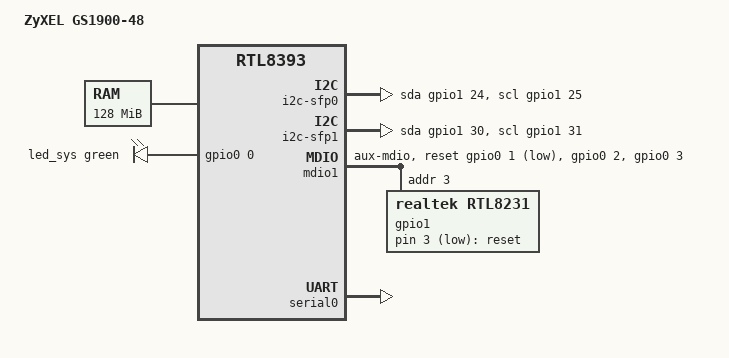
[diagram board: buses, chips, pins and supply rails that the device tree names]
// SPDX-License-Identifier: GPL-2.0-or-later
/dts-v1/;

#include "rtl83xx.dtsi"
#include "rtl839x.dtsi"

#include <dt-bindings/gpio/gpio.h>
#include <dt-bindings/input/input.h>
#include <dt-bindings/leds/common.h>

#define ZYXEL_PORT_LED(phy) \
	led@##phy##.0.0 { \
		reg = <(phy) 0 0>; \
		color = <LED_COLOR_ID_GREEN>; \
		function = "lan"; \
		function-enumerator = <(phy)>; \
	}

/ {
	compatible = "zyxel,gs1900-48", "realtek,rtl8393-soc";
	model = "ZyXEL GS1900-48";

	chosen {
		stdout-path = "serial0:115200n8";
		bootargs = "earlycon console=ttyS0,115200";
	};

	memory@0 {
		device_type = "memory";
		reg = <0x0 0x8000000>;
	};

	aliases {
		led-boot = &led_sys;
		led-failsafe = &led_sys;
		led-running = &led_sys;
		led-upgrade = &led_sys;
		mdio-gpio1 = &mdio1;
	};

	leds {
		compatible = "gpio-leds";

		pinctrl-names = "default";
		pinctrl-0 = <&sys_led_pins>;

		led_sys: led-0 {
			gpios = <&gpio0 0 GPIO_ACTIVE_HIGH>;
			color = <LED_COLOR_ID_GREEN>;
			function = LED_FUNCTION_STATUS;
			linux,default-trigger = "default-on";
		};
	};

	keys {
		compatible = "gpio-keys-polled";
		poll-interval = <10>;
		debounce-interval = <50>;

		pinctrl-names = "default";
		pinctrl-0 = <&input_pin_cfg>;

		reset {
			gpios = <&gpio1 3 GPIO_ACTIVE_LOW>;
			linux,code = <KEY_RESTART>;
		};
	};

//	keys {
//		compatible = "gpio-keys";
//
//		pinctrl-names = "default";
//		pinctrl-0 = <&jtag_pins>;
//
//		fake_reset {
//			gpios = <&gpio0 6 GPIO_ACTIVE_LOW>;
//			linux,code = <KEY_RESTART>;
//		};
//	};

//	gpio-restart {
//		compatible = "gpio-restart";
//		gpios = <&gpio1 5 GPIO_ACTIVE_LOW>;
//		open-source;
//	};

	i2c-sfp0 {
		compatible = "i2c-gpio";
		#address-cells = <1>;
		#size-cells = <0>;
		scl-gpios = <&gpio1 25 GPIO_ACTIVE_HIGH>;
		sda-gpios = <&gpio1 24 GPIO_ACTIVE_HIGH>;
		i2c-gpio,scl-open-drain;
		i2c-gpio,sda-open-drain;
	};

	i2c-sfp1 {
		compatible = "i2c-gpio";
		#address-cells = <1>;
		#size-cells = <0>;
		scl-gpios = <&gpio1 31 GPIO_ACTIVE_HIGH>;
		sda-gpios = <&gpio1 30 GPIO_ACTIVE_HIGH>;
		i2c-gpio,scl-open-drain;
		i2c-gpio,sda-open-drain;
	};

	mdio1: mdio {
		compatible = "virtual,mdio-gpio";
		#address-cells = <1>;
		#size-cells = <0>;
		gpios = <&gpio0 2 GPIO_ACTIVE_HIGH>,
			<&gpio0 3 GPIO_ACTIVE_HIGH>;

		pinctrl-names = "default";
		pinctrl-0 = <&gpio_mdx_pins>;

		reset-gpios = <&gpio0 1 GPIO_ACTIVE_LOW>;
		reset-delay-us = <1000>;
		reset-post-delay-us = <10000>;

		gpio1: expander@3 {
			compatible = "realtek,rtl8231";
			reg = <0x3>;

			gpio-controller;
			#gpio-cells = <2>;
			gpio-ranges = <&gpio1 0 0 37>;

			led-controller {
				compatible = "realtek,rtl8231-leds";
				#address-cells = <2>;
				#size-cells = <0>;
				status = "disabled";
			};

			input_pin_cfg: input-pins {
				gpio_pins {
					pins = "gpio3";
					function = "gpio";
				};
			};
		};
	};

	switchcore-bus@1b000000 {
		compatible = "realtek,cypress-switchcore", "syscon";
		reg = <0x1b000000 0x10000>;

		led-sys {
			compatible = "realtek,cypress-sys-led";
			status = "disabled";

			function = "status";
			color = <LED_COLOR_ID_GREEN>;
			linux,default-trigger = "default-on";
		};

		pinctrl {
			compatible = "realtek,cypress-pinctrl";

			sys_led_pins: sys-led-mux {
				groups = "sys-led";
				function = "gpio";
			};

			gpio_mdx_pins: aux-mdio-mux {
				groups = "aux-mdio";
				function = "gpio";
			};
		};

		port-leds {
			compatible = "realtek,cypress-port-led";
			#address-cells = <3>;
			#size-cells = <0>;

			realtek,output-mode = "single-color-scan";

			ZYXEL_PORT_LED(0);
			ZYXEL_PORT_LED(1);
			ZYXEL_PORT_LED(2);
			ZYXEL_PORT_LED(3);
			ZYXEL_PORT_LED(4);
			ZYXEL_PORT_LED(5);
			ZYXEL_PORT_LED(6);
			ZYXEL_PORT_LED(7);
			ZYXEL_PORT_LED(8);
			ZYXEL_PORT_LED(9);
			ZYXEL_PORT_LED(10);
			ZYXEL_PORT_LED(11);
			ZYXEL_PORT_LED(12);
			ZYXEL_PORT_LED(13);
			ZYXEL_PORT_LED(14);
			ZYXEL_PORT_LED(15);
			ZYXEL_PORT_LED(16);
			ZYXEL_PORT_LED(17);
			ZYXEL_PORT_LED(18);
			ZYXEL_PORT_LED(19);
			ZYXEL_PORT_LED(20);
			ZYXEL_PORT_LED(21);
			ZYXEL_PORT_LED(22);
			ZYXEL_PORT_LED(23);
			ZYXEL_PORT_LED(24);
			ZYXEL_PORT_LED(25);
			ZYXEL_PORT_LED(26);
			ZYXEL_PORT_LED(27);
			ZYXEL_PORT_LED(28);
			ZYXEL_PORT_LED(29);
			ZYXEL_PORT_LED(30);
			ZYXEL_PORT_LED(31);
			ZYXEL_PORT_LED(32);
			ZYXEL_PORT_LED(33);
			ZYXEL_PORT_LED(34);
			ZYXEL_PORT_LED(35);
			ZYXEL_PORT_LED(36);
			ZYXEL_PORT_LED(37);
			ZYXEL_PORT_LED(38);
			ZYXEL_PORT_LED(39);
			ZYXEL_PORT_LED(40);
			ZYXEL_PORT_LED(41);
			ZYXEL_PORT_LED(42);
			ZYXEL_PORT_LED(43);
			ZYXEL_PORT_LED(44);
			ZYXEL_PORT_LED(45);
			ZYXEL_PORT_LED(46);
			ZYXEL_PORT_LED(47);
			ZYXEL_PORT_LED(48);
			ZYXEL_PORT_LED(49);
		};
	};
};

&serial0 {
	status = "okay";
};
